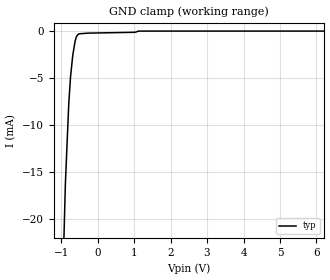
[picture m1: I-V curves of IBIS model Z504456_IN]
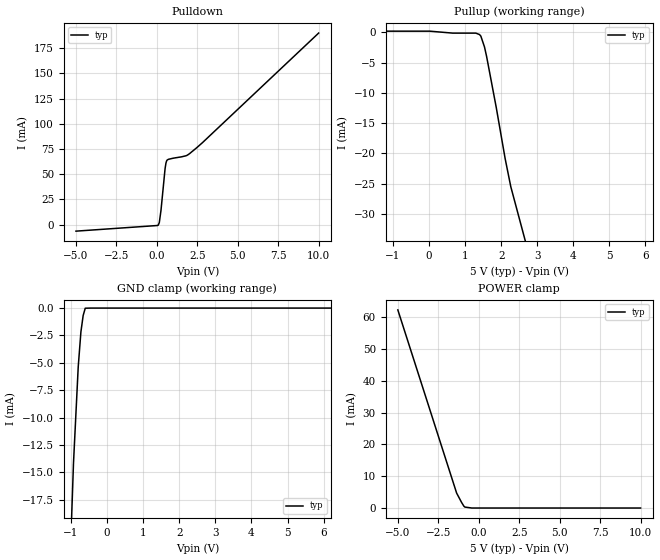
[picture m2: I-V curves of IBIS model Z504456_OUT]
| YOU ARE ONLY AUTHORIZED TO USE THIS SOFTWARE
| ACCORDING TO LICENSOR'S LICENSE RESTRICTIONS.
[IBIS Ver] 3.1
[File Name] sn54ls40j.ibs
[File Rev] 2.0
[Source] Measured and created by ICX Technology
[Date] Friday 7/14/00 9:08:15 AM
[Copyright]
| (C) COPYRIGHT 1993-2000
| MENTOR GRAPHICS CORPORATION
| ICX STANDARD LIBRARY, ICX PROJECT MODELING,
| ICX CUSTOM MODELING, ICX VENDOR MODEL
| ALL RIGHTS RESERVED.
| THE FOLLOWING ARE TRADEMARKS OR SERVICE MARKS OF
| MENTOR GRAPHICS CORPORATION:ICX (R), ICX STANDARD
| LIBRARY(R), ICX PROJECT MODELING(R), ICX CUSTOM
| MODELING(R), qualityIBIS(TM), MODELVIEWER(TM),
| AND MODELEDITOR(TM)
| ALL COPIES OF SOFTWARE, INCLUDING BUT NOT LIMITED TO
| ANY MODIFICATIONS, ENHANCEMENTS OR DERIVATIVE WORKS,
| MUST CONTAIN ALL MENTOR GRAPHICS CORPORATION'S
| NOTICES AND LEGENDS, INCLUDING THOSE EMBEDDED IN
| SOFTWARE AND THOSE AFFIXED TO SOFTWARE MEDIUM
| AND CONTAINER, AS RECEIVED FROM MENTOR GRAPHICS
| CORPORATION.
|  ZAP Model Builder 2.7
[Component] SN54LS40J
[Manufacturer] OnSemiconductor
[Package]
| variable   typ   min   max
R_pkg  .21ohms NA NA
L_pkg  4.543nH NA NA
C_pkg  1.8pF NA NA
[Pin] signal_name  model_name  R_pin  L_pin C_pin
1 A Z504456_IN .22 6.757n 2.434p
2 B Z504456_IN .212 4.757n 1.941p
3 NC NC .204 3.257n 1.448p
4 C Z504456_IN .196 2.257n .955p
5 D Z504456_IN .204 3.257n 1.448p
6 Y Z504456_OUT .212 4.757n 1.941p
7 GND GND .22 6.757n 2.434p
8 Y Z504456_OUT .22 6.757n 2.434p
9 A Z504456_IN .212 4.757n 1.941p
10 B Z504456_IN .204 3.257n 1.448p
11 NC NC .196 2.257n .955p
12 C Z504456_IN .204 3.257n 1.448p
13 D Z504456_IN .212 4.757n 1.941p
14 VCC POWER .22 6.757n 2.434p
| Models and submodels in the file (2): Z504456_IN (Input), Z504456_OUT (Output)
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| (C) COPYRIGHT 1993-2000
| MENTOR GRAPHICS CORPORATION
| ICX STANDARD LIBRARY, ICX PROJECT MODELING,
| ICX CUSTOM MODELING, ICX VENDOR MODEL
| ALL RIGHTS RESERVED.
| THE FOLLOWING ARE TRADEMARKS OR SERVICE MARKS OF
| MENTOR GRAPHICS CORPORATION:ICX (R), ICX STANDARD
| LIBRARY(R), ICX PROJECT MODELING(R), ICX CUSTOM
| MODELING(R), qualityIBIS(TM), MODELVIEWER(TM),
| AND MODELEDITOR(TM)
| ALL COPIES OF SOFTWARE, INCLUDING BUT NOT LIMITED TO
| ANY MODIFICATIONS, ENHANCEMENTS OR DERIVATIVE WORKS,
| MUST CONTAIN ALL MENTOR GRAPHICS CORPORATION'S
| NOTICES AND LEGENDS, INCLUDING THOSE EMBEDDED IN
| SOFTWARE AND THOSE AFFIXED TO SOFTWARE MEDIUM
| AND CONTAINER, AS RECEIVED FROM MENTOR GRAPHICS
| CORPORATION.
| Model Application Version 1.89 2/18/99.
[Model] Z504456_IN
Model_type Input
Vinl = 800.0mV
Vinh = 2.000V
C_comp 4.000pF NA NA
| variable typ   min   max
[Voltage Range] 5.000V NA NA
[GND Clamp Reference] 0.000V NA NA
[POWER Clamp Reference] 5.000V NA NA
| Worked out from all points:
|   GND clamp passes 1 mA (typ) near -0.61 V on its own axis
[GND Clamp]
-5V       -615.7mA   NA         NA
-883.3mV  -16.31mA   NA         NA
-790.4mV  -7.731mA   NA         NA
-741.6mV  -4.854mA   NA         NA
-681.3mV  -2.59mA    NA         NA
-617.5mV  -1.083mA   NA         NA
-585.2mV  -636.2uA   NA         NA
-546.9mV  -384.8uA   NA         NA
-503.9mV  -279.2uA   NA         NA
1.03V     -118.1uA   NA         NA
1.124V    9.788uA    NA         NA
10V       9.788uA    NA         NA
[POWER Clamp]
-5V       0A         NA         NA
10V       0A         NA         NA
| (C) COPYRIGHT 1993-2000
| MENTOR GRAPHICS CORPORATION
| ICX STANDARD LIBRARY, ICX PROJECT MODELING,
| ICX CUSTOM MODELING, ICX VENDOR MODEL
| ALL RIGHTS RESERVED.
| THE FOLLOWING ARE TRADEMARKS OR SERVICE MARKS OF
| MENTOR GRAPHICS CORPORATION:ICX (R), ICX STANDARD
| LIBRARY(R), ICX PROJECT MODELING(R), ICX CUSTOM
| MODELING(R), qualityIBIS(TM), MODELVIEWER(TM),
| AND MODELEDITOR(TM)
| ALL COPIES OF SOFTWARE, INCLUDING BUT NOT LIMITED TO
| ANY MODIFICATIONS, ENHANCEMENTS OR DERIVATIVE WORKS,
| MUST CONTAIN ALL MENTOR GRAPHICS CORPORATION'S
| NOTICES AND LEGENDS, INCLUDING THOSE EMBEDDED IN
| SOFTWARE AND THOSE AFFIXED TO SOFTWARE MEDIUM
| AND CONTAINER, AS RECEIVED FROM MENTOR GRAPHICS
| CORPORATION.
| Model Application Version 1.89 2/18/99.
[Model] Z504456_OUT
Model_type Output
Vref=5.000V
Rref=2.000kohms
Cref=15.00pF
Vmeas=1.300V
C_comp 8.000pF NA NA
| variable typ   min   max
[Voltage Range] 5.000V NA NA
[POWER Clamp Reference] 5.000V NA NA
[Pullup Reference] 5.000V NA NA
[Pulldown Reference] 0.000V NA NA
[GND Clamp Reference] 0.000V NA NA
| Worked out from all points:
|   slope of the pulldown table from 0 to 0.75 V, typ, clamps not added: 11.4 ohm
|   slope of the pullup table from 0 to 0.75 V, typ, clamps not added: 2.31 kohm
|   GND clamp passes 1 mA (typ) near -0.68 V on its own axis
|   POWER clamp passes 1 mA (typ) near -0.97 V on its own axis
[GND Clamp]
-5V       -618mA     NA         NA
-1.25V    -48.59mA   NA         NA
-1.113V   -31.41mA   NA         NA
-932.2mV  -14.16mA   NA         NA
-800.8mV  -5.354mA   NA         NA
-726.6mV  -2.175mA   NA         NA
-664.1mV  -679.2uA   NA         NA
-606.2mV  -12.61uA   NA         NA
-454.6mV  0A         NA         NA
10V       0A         NA         NA
[Pulldown]
-5V       -6.531mA   NA         NA
87.89mV   -464.4uA   NA         NA
150.3mV   1.938mA    NA         NA
253.9mV   13.96mA    NA         NA
508.9mV   55.69mA    NA         NA
562.1mV   61.03mA    NA         NA
636.1mV   64.01mA    NA         NA
1.851V    68.59mA    NA         NA
2.461V    76.19mA    NA         NA
10V       190mA      NA         NA
[Pullup]
-5V       177.4uA    NA         NA
20mV      177.4uA    NA         NA
659mV     -147uA     NA         NA
1.298V    -147uA     NA         NA
1.4V      -383uA     NA         NA
1.437V    -639.6uA   NA         NA
1.538V    -2.425mA   NA         NA
1.596V    -3.977mA   NA         NA
1.865V    -12.45mA   NA         NA
2.111V    -20.87mA   NA         NA
2.267V    -25.49mA   NA         NA
10V       -197.6mA   NA         NA
[POWER Clamp]
-5V       62.28mA    NA         NA
-1.367V   4.699mA    NA         NA
-1.055V   1.705mA    NA         NA
-913mV    544.8uA    NA         NA
-855mV    298.7uA    NA         NA
-427.5mV  0A         NA         NA
10V       0A         NA         NA
[Ramp]
| variable typ min max
dV/dt_r 1.935/7.256n NA NA
dV/dt_f 1.935/4.799n NA NA
R_load = 500.0Ohms
